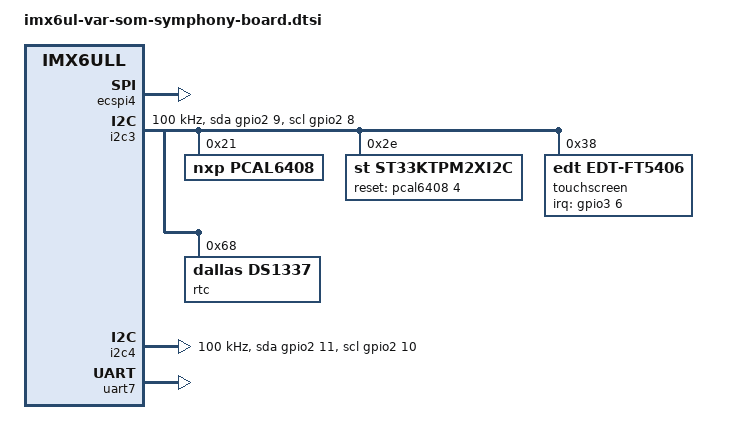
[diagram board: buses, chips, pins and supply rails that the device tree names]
// SPDX-License-Identifier: GPL-2.0+
/*
 * Variscite Symphony carrier board for VAR-SOM-6UL
 *
 * Link: https://variscite.com/carrier-boards/symphony-board/
 *
 * Copyright (C) 2026 Variscite Ltd. - https://www.variscite.com
 */

#include "imx6ul-imx6ull-var-som-symphony-board.dtsi"

&ecspi4 {
	#address-cells = <1>;
	#size-cells = <0>;
	pinctrl-names = "default";
	pinctrl-0 = <&pinctrl_ecspi4 &pinctrl_ecspi4_cs>;
	cs-gpios = <&gpio2 15 GPIO_ACTIVE_LOW>;
	status = "okay";
};

&i2c3 {
	clock-frequency = <100000>;
	pinctrl-names = "default", "gpio";
	pinctrl-0 = <&pinctrl_i2c3>;
	pinctrl-1 = <&pinctrl_i2c3_gpio>;
	scl-gpios = <&gpio2 8 (GPIO_ACTIVE_HIGH | GPIO_OPEN_DRAIN)>;
	sda-gpios = <&gpio2 9 (GPIO_ACTIVE_HIGH | GPIO_OPEN_DRAIN)>;
	status = "okay";

	/* GPIO Expander */
	pcal6408: gpio@21 {
		compatible = "nxp,pcal6408";
		reg = <0x21>;
		gpio-controller;
		#gpio-cells = <2>;

		/* RGB_SEL*/
		lvds-brg-enable-hog {
			gpio-hog;
			gpios = <7 GPIO_ACTIVE_HIGH>;
			output-low;
			line-name = "lvds_brg_en";
		};
	};

	/* TPM */
	st33ktpm2xi2c: tpm@2e {
		compatible = "st,st33ktpm2xi2c", "tcg,tpm-tis-i2c";
		reg = <0x2e>;
		reset-gpios = <&pcal6408 4 GPIO_ACTIVE_HIGH>;
	};

	touchscreen@38 {
		compatible = "edt,edt-ft5406";
		reg = <0x38>;
		pinctrl-names = "default";
		pinctrl-0 = <&pinctrl_ft5x06_ts_gpio>;
		interrupt-parent = <&gpio3>;
		interrupts = <6 0>;
		touchscreen-size-x = <800>;
		touchscreen-size-y = <480>;
		touchscreen-inverted-x;
		touchscreen-inverted-y;
	};

	/* DS1337 RTC module */
	rtc@68 {
		compatible = "dallas,ds1337";
		reg = <0x68>;
	};
};

&i2c4 {
	clock-frequency = <100000>;
	pinctrl-names = "default", "gpio";
	pinctrl-0 = <&pinctrl_i2c4>;
	pinctrl-1 = <&pinctrl_i2c4_gpio>;
	scl-gpios = <&gpio2 10 (GPIO_ACTIVE_HIGH | GPIO_OPEN_DRAIN)>;
	sda-gpios = <&gpio2 11 (GPIO_ACTIVE_HIGH | GPIO_OPEN_DRAIN)>;
	status = "okay";
};

/* ttymxc6 UART */
&uart7 {
	pinctrl-names = "default";
	pinctrl-0 = <&pinctrl_uart7>;
	status = "okay";
};
